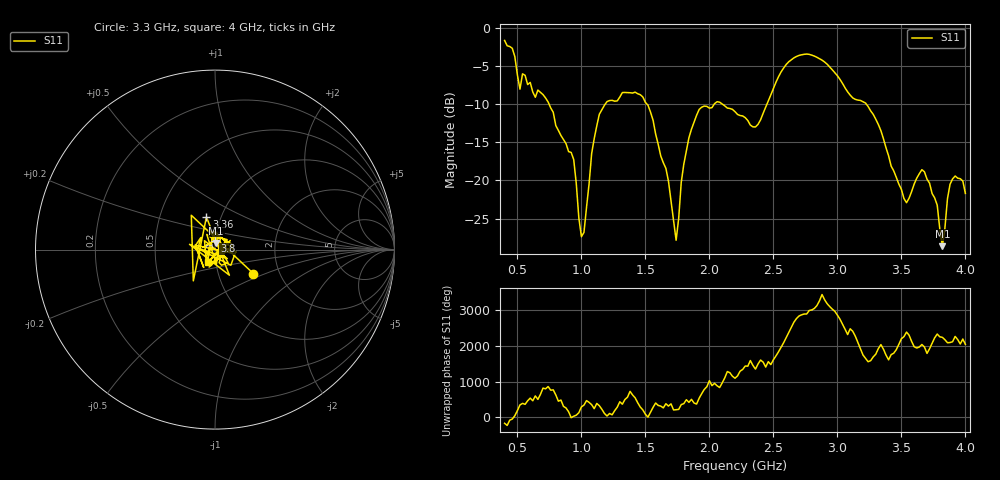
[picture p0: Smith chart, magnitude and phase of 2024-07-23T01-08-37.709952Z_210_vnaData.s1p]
!Created with skrf (http://scikit-rf.org).
# Hz S RI R 50.0
!freq ReS11 ImS11
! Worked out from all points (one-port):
!   181 points, 400 MHz to 4 GHz, reference 50 ohm
!   lowest |S11| = -28.6 dB at 3.82 GHz (marker M1), VSWR 1.08, Z = 50.6 + j3.69 ohm
!   |S11| at or under -10 dB: 747.2 MHz to 1.186 GHz (438.9 MHz wide, 45.4 % of centre); 1.512 GHz to 2.038 GHz (525.3 MHz wide, 29.6 % of centre); 3.226 GHz to end of sweep (the widest 3 of 4)
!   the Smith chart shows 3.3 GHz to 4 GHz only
!   S11 on the Smith chart (normalised r, x): 3.3 GHz: 1.47, -0.42; 3.36 GHz: 0.85, +0.32; 3.8 GHz: 0.99, +0.10; 4 GHz: 0.91, -0.13
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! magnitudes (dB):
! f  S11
! 400 MHz  -1.7
! 460 MHz  -2.7
! 520 MHz  -8.0
! 700 MHz  -8.8
! 860 MHz  -14.6
! 940 MHz  -17.3
! 1 GHz  -27.4
! 1.14 GHz  -11.3
! 1.3 GHz  -9.1
! 1.52 GHz  -10.1
! 1.66 GHz  -18.4
! 1.74 GHz  -27.8
! 1.76 GHz  -25.0
! 1.8 GHz  -17.9
! 1.92 GHz  -10.7
! 2.2 GHz  -11.0
! 2.36 GHz  -13.0
! 2.66 GHz  -3.9
! 2.88 GHz  -4.2
! 3.1 GHz  -8.8
! 3.3 GHz  -12.0
! 3.36 GHz  -14.6
! 3.56 GHz  -22.3
! 3.68 GHz  -18.9
! 3.8 GHz  -26.3
! 3.82 GHz  -28.6
! 3.88 GHz  -20.5
! 4 GHz  -21.7
